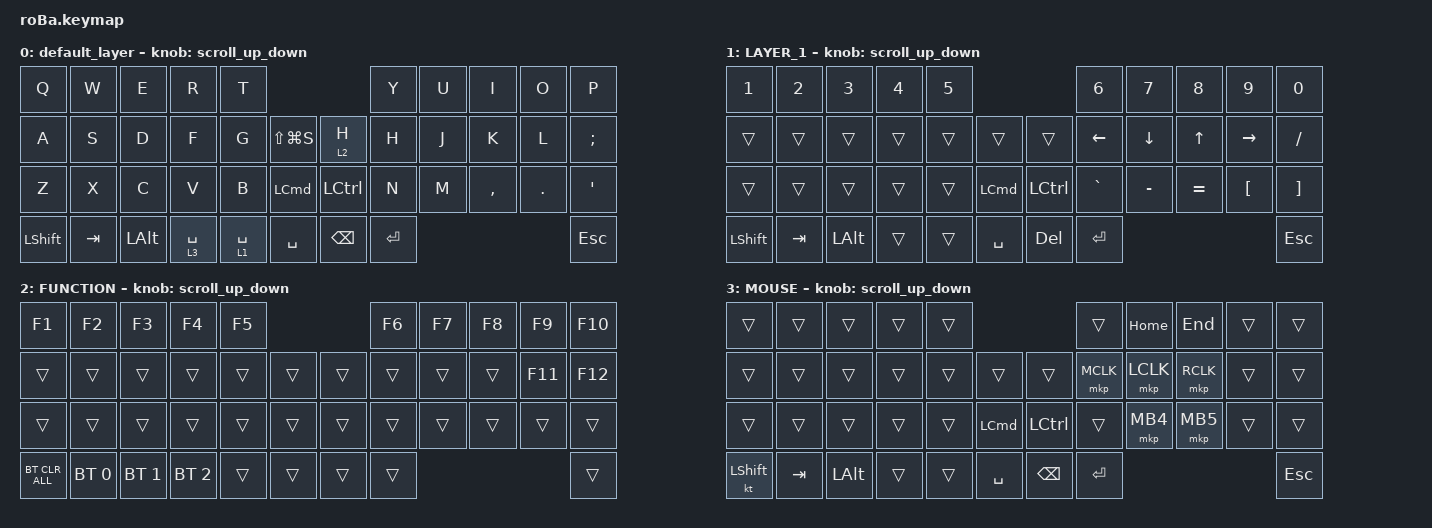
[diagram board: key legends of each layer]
#include <behaviors.dtsi>
#include <dt-bindings/zmk/bt.h>
#include <dt-bindings/zmk/keys.h>
#include <dt-bindings/zmk/keys.h>
#include <dt-bindings/zmk/mouse.h>

#define MOUSE 4
#define SCROLL 5
#define NUM 6
#define ZMK_MOUSE_DEFAULT_SCRL_VAL 100

&mt {
    flavor = "balanced";
    quick-tap-ms = <0>;
};

/ {
    combos { compatible = "zmk,combos"; };

    behaviors {
        new_behavior: new_behavior {
            compatible = "zmk,behavior-sensor-rotate";
            label = "NEW_BEHAVIOR";
            #sensor-binding-cells = <0>;
            bindings = <&none>, <&none>;
        };

        scroll_up_down: behavior_sensor_rotate_mouse_wheel_up_down {
            compatible = "zmk,behavior-sensor-rotate";
            #sensor-binding-cells = <0>;
            bindings = <&msc SCRL_UP>, <&msc SCRL_DOWN>;

            // 追加: スクロールのタップ時間を設定 (20ms)

            tap-ms = <20>;
        };
    };

    keymap {
        compatible = "zmk,keymap";

        default_layer {
            bindings = <
&kp Q           &kp W    &kp E         &kp R        &kp T                                           &kp Y      &kp U  &kp I      &kp O       &kp P
&kp A           &kp S    &kp D         &kp F        &kp G        &kp LS(LG(S))       &lt 2 H        &kp H      &kp J  &kp K      &kp L       &kp SEMICOLON
&kp Z           &kp X    &kp C         &kp V        &kp B        &kp LEFT_COMMAND    &kp LCTRL      &kp N      &kp M  &kp COMMA  &kp PERIOD  &kp SQT
&kp LEFT_SHIFT  &kp TAB  &kp LEFT_ALT  &lt 3 SPACE  &lt 1 SPACE  &kp SPACE           &kp BACKSPACE  &kp ENTER                                &kp ESCAPE
            >;

            sensor-bindings = <&scroll_up_down>;
        };

        LAYER_1 {
            bindings = <
&kp NUMBER_1    &kp NUMBER_2  &kp NUMBER_3  &kp NUMBER_4  &kp N5                                  &kp NUMBER_6    &kp N7          &kp N8        &kp N9            &kp N0
&trans          &trans        &trans        &trans        &trans  &trans              &trans      &kp LEFT_ARROW  &kp DOWN_ARROW  &kp UP_ARROW  &kp RIGHT         &kp SLASH
&trans          &trans        &trans        &trans        &trans  &kp LEFT_COMMAND    &kp LCTRL   &kp GRAVE       &kp MINUS       &kp EQUAL     &kp LEFT_BRACKET  &kp RIGHT_BRACKET
&kp LEFT_SHIFT  &kp TAB       &kp LEFT_ALT  &trans        &trans  &kp SPACE           &kp DELETE  &kp ENTER                                                       &kp ESCAPE
            >;

            sensor-bindings = <&scroll_up_down>;
        };

        FUNCTION {
            bindings = <
&kp F1          &kp F2        &kp F3        &kp F4        &kp F5                    &kp F6  &kp F7  &kp F8  &kp F9   &kp F10
&trans          &trans        &trans        &trans        &trans  &trans    &trans  &trans  &trans  &trans  &kp F11  &kp F12
&trans          &trans        &trans        &trans        &trans  &trans    &trans  &trans  &trans  &trans  &trans   &trans
&bt BT_CLR_ALL  &bt BT_SEL 0  &bt BT_SEL 1  &bt BT_SEL 2  &trans  &trans    &trans  &trans                           &trans
            >;

            sensor-bindings = <&scroll_up_down>;
        };

        MOUSE {
            bindings = <
&trans          &trans   &trans        &trans  &trans                                        &trans     &kp HOME   &kp END    &trans  &trans
&trans          &trans   &trans        &trans  &trans  &trans              &trans            &mkp MCLK  &mkp LCLK  &mkp RCLK  &trans  &trans
&trans          &trans   &trans        &trans  &trans  &kp LEFT_COMMAND    &kp LEFT_CONTROL  &trans     &mkp MB4   &mkp MB5   &trans  &trans
&kt LEFT_SHIFT  &kp TAB  &kp LEFT_ALT  &trans  &trans  &kp SPACE           &kp BACKSPACE     &kp ENTER                                &kp ESCAPE
            >;

            sensor-bindings = <&scroll_up_down>;
        };
    };
};
